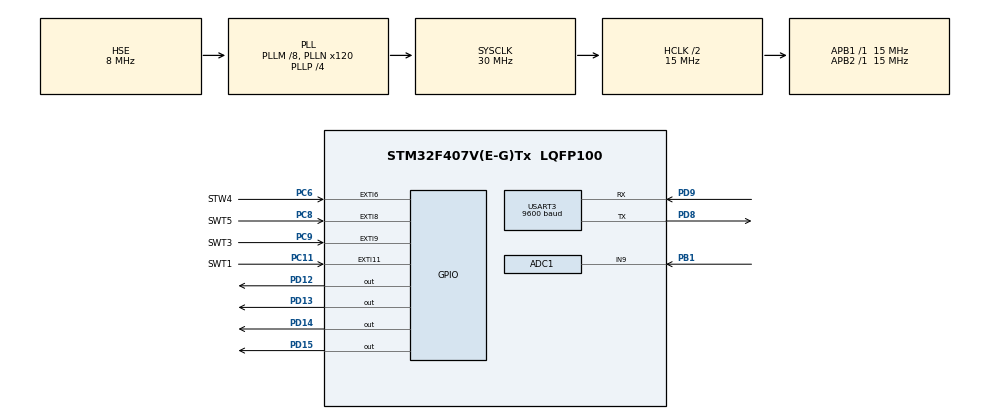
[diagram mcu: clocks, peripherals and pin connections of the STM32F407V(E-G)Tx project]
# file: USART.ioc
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ADC1.Channel-5\#ChannelRegularConversion=ADC_CHANNEL_9
ADC1.ExternalTrigConv=ADC_EXTERNALTRIGCONV_T1_CC1
ADC1.NbrOfConversionFlag=1
ADC1.Rank-5\#ChannelRegularConversion=1
ADC1.SamplingTime-5\#ChannelRegularConversion=ADC_SAMPLETIME_480CYCLES
ADC1.ScanConvMode=ENABLE
ADC1.master=1
Mcu.Family=STM32F4
Mcu.Name=STM32F407V(E-G)Tx
Mcu.Package=LQFP100
NVIC.ADC_IRQn=true\:0\:0\:false\:false\:true\:true\:true
NVIC.EXTI15_10_IRQn=true\:0\:0\:false\:false\:true\:true\:true
NVIC.EXTI9_5_IRQn=true\:0\:0\:false\:false\:true\:true\:true
NVIC.PriorityGroup=NVIC_PRIORITYGROUP_4
PB1.Signal=ADCx_IN9
PC11.GPIO_Label=SWT1
PC11.Signal=GPXTI11
PC6.GPIO_Label=STW4
PC6.Signal=GPXTI6
PC8.GPIO_Label=SWT5
PC8.Signal=GPXTI8
PC9.GPIO_Label=SWT3
PC9.Signal=GPXTI9
PD12.Signal=GPIO_Output
PD13.Signal=GPIO_Output
PD14.Signal=GPIO_Output
PD15.Signal=GPIO_Output
PD8.Mode=Asynchronous
PD8.Signal=USART3_TX
PD9.Mode=Asynchronous
PD9.Signal=USART3_RX
PH0-OSC_IN.Mode=HSE-External-Oscillator
PH0-OSC_IN.Signal=RCC_OSC_IN
PH1-OSC_OUT.Mode=HSE-External-Oscillator
PH1-OSC_OUT.Signal=RCC_OSC_OUT
ProjectManager.HeapSize=0x200
ProjectManager.StackSize=0x400
ProjectManager.TargetToolchain=STM32CubeIDE
RCC.48MHZClocksFreq_Value=30000000
RCC.AHBCLKDivider=RCC_SYSCLK_DIV2
RCC.AHBFreq_Value=15000000
RCC.APB1Freq_Value=15000000
RCC.APB1TimFreq_Value=15000000
RCC.APB2Freq_Value=15000000
RCC.APB2TimFreq_Value=15000000
RCC.CortexFreq_Value=15000000
RCC.HCLKFreq_Value=15000000
RCC.HSE_VALUE=8000000
RCC.HSI_VALUE=16000000
RCC.LSE_VALUE=32768
RCC.PLLM=8
RCC.PLLN=120
RCC.PLLP=RCC_PLLP_DIV4
RCC.PLLSourceVirtual=RCC_PLLSOURCE_HSE
RCC.SYSCLKFreq_VALUE=30000000
RCC.SYSCLKSource=RCC_SYSCLKSOURCE_PLLCLK
RCC.VCOOutputFreq_Value=120000000
SH.ADCx_IN9.0=ADC1_IN9,IN9
TIM1.Channel-Output\ Compare1\ No\ Output=TIM_CHANNEL_1
TIM1.OC1Preload=DISABLE
TIM1.OCMode_1=TIM_OCMODE_TOGGLE
TIM1.Period=2000
TIM1.Prescaler=15000
USART3.BaudRate=9600
USART3.VirtualMode=VM_ASYNC
VP_TIM1_VS_ClockSourceINT.Mode=Internal
VP_TIM1_VS_no_output1.Mode=Output Compare1 No Output
board=custom

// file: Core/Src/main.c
/* USER CODE BEGIN Header */
/**
 ******************************************************************************
 * @file           : main.c
 * @brief          : Main program body
 ******************************************************************************
 * @attention
 *
 * <h2><center>&copy; Copyright (c) 2021 STMicroelectronics.
 * All rights reserved.</center></h2>
 *
 * This software component is licensed by ST under BSD 3-Clause license,
 * the "License"; You may not use this file except in compliance with the
 * License. You may obtain a copy of the License at:
 *                        opensource.org/licenses/BSD-3-Clause
 *
 ******************************************************************************
 */
/* USER CODE END Header */
#include "main.h"

/* USER CODE BEGIN PD */
#define VOLT_1C 0.0202f
#define VOLT_MIN_C 2.02f
#define MAX_VAL_ADC 4096.f
#define MAX_VOLT 3.3f
/* USER CODE END PD */

ADC_HandleTypeDef hadc1;

TIM_HandleTypeDef htim1;

UART_HandleTypeDef huart3;

/* USER CODE BEGIN PV */

static uint16_t LEDs[] = { GPIO_PIN_12, GPIO_PIN_13, GPIO_PIN_14, GPIO_PIN_15 };
static uint8_t LedState[4] = { 0 };
enum {
	green, orange, red, blue
};
/* USER CODE END PV */

void SystemClock_Config(void);
static void MX_GPIO_Init(void);
static void MX_USART3_UART_Init(void);
static void MX_ADC1_Init(void);
static void MX_TIM1_Init(void);

/* USER CODE BEGIN 0 */

void printToConsole(int *tempC) //Вывод
{
	uint8_t tempChar[2] = { 0 }; //Массив для конвертирования целочисельных значений в символы
	/*Вывод состояния зеленого светодиота*/
	HAL_UART_Transmit(&huart3, (uint8_t*) "\r Green is ", 1 + 10, 10);
	(LedState[green]) ?
			HAL_UART_Transmit(&huart3, (uint8_t*) "1\t", 1 + 1, 10) :
			HAL_UART_Transmit(&huart3, (uint8_t*) "0\t", 1 + 1, 10);
	/*Вывод состояния оранжевого светодиота*/
	HAL_UART_Transmit(&huart3, (uint8_t*) " Orange is ", 11, 10);
	(LedState[orange]) ?
			HAL_UART_Transmit(&huart3, (uint8_t*) "1\t", 1 + 1, 10) :
			HAL_UART_Transmit(&huart3, (uint8_t*) "0\t", 1 + 1, 10);
	/*Вывод состояния красного светодиота*/
	HAL_UART_Transmit(&huart3, (uint8_t*) " Red is ", 8, 10);
	(LedState[red]) ?
			HAL_UART_Transmit(&huart3, (uint8_t*) "1\t", 1 + 1, 10) :
			HAL_UART_Transmit(&huart3, (uint8_t*) "0\t", 1 + 1, 10);
	/*Вывод состояния синего светодиота*/
	HAL_UART_Transmit(&huart3, (uint8_t*) " Blue is ", 9, 10);
	(LedState[blue]) ?
			HAL_UART_Transmit(&huart3, (uint8_t*) "1\t", 1 + 1, 10) :
			HAL_UART_Transmit(&huart3, (uint8_t*) "0\t", 1 + 1, 10);

	if (*tempC) {
		/*Конвертирование значения температуры в символы*/
		for (int i = 2; i != 0; i--) {
			tempChar[i - 1] = *tempC % 10;
			tempChar[i - 1] += '0';
			*tempC /= 10;
		}
		/*Вывод температуры*/
		HAL_UART_Transmit(&huart3, (uint8_t*) " Temp is ", 9, 10);
		HAL_UART_Transmit(&huart3, tempChar, 2, 100);

	}
}

void HAL_GPIO_EXTI_Callback(uint16_t GPIO_Pin) //Действия при нажатии кнопок с платы
{
	switch (GPIO_Pin) {

	case GPIO_PIN_11:
		HAL_GPIO_TogglePin(GPIOD, LEDs[blue]);
		LedState[blue] = !LedState[blue];
		break;
	case GPIO_PIN_9:
		HAL_GPIO_TogglePin(GPIOD, LEDs[orange]);
		LedState[orange] = !LedState[orange];
		break;
	case GPIO_PIN_6:
		HAL_GPIO_TogglePin(GPIOD, LEDs[red]);
		LedState[red] = !LedState[red];
		break;
	case GPIO_PIN_8:
		HAL_GPIO_TogglePin(GPIOD, LEDs[green]);
		LedState[green] = !LedState[green];
		break;
	}
	printToConsole(0);
}

void HAL_ADC_ConvCpltCallback(ADC_HandleTypeDef *hadc) //Вычисление и конвертация температуры
{
	int tempC = 0;
	uint16_t adc = 0;
	adc = HAL_ADC_GetValue(&hadc1);
	tempC = (VOLT_MIN_C - (adc * (MAX_VOLT / MAX_VAL_ADC))) / VOLT_1C;
	//1. Вычисление напряжения относительно 1;
	//2. Вычисление Напряжение относительно значения с ацп;
	//3. Напряжение относительно диапазона температур;
	//4. Конвертация в градусы Цельсия.

	printToConsole(&tempC);

}
/* USER CODE END 0 */

int main(void)
{

  /* MCU Configuration--------------------------------------------------------*/

  /* Reset of all peripherals, Initializes the Flash interface and the Systick. */
  HAL_Init();

  /* Configure the system clock */
  SystemClock_Config();

  /* Initialize all configured peripherals */
  MX_GPIO_Init();
  MX_USART3_UART_Init();
  MX_ADC1_Init();
  MX_TIM1_Init();
  /* USER CODE BEGIN 2 */
	printToConsole(0);
	uint8_t recValue;
	HAL_StatusTypeDef result;
	HAL_TIM_OC_Start(&htim1, TIM_CHANNEL_1);
	HAL_ADC_Start_IT(&hadc1);
  /* USER CODE END 2 */

  /* Infinite loop */
  /* USER CODE BEGIN WHILE */

	while (1) { //Взятие данных с клавиатуры

		result = HAL_UART_Receive(&huart3, &recValue, 1, 100);

		if (result == HAL_OK) {
			switch (recValue) {

			case '1': //Зеленый
				HAL_GPIO_TogglePin(GPIOD, LEDs[green]);
				LedState[green] = !LedState[green];
				break;

			case '2': //Оранжевый
				HAL_GPIO_TogglePin(GPIOD, LEDs[orange]);
				LedState[orange] = !LedState[orange];
				break;
			case '3': //Красный
				HAL_GPIO_TogglePin(GPIOD, LEDs[red]);
				LedState[red] = !LedState[red];
				break;
			case '4': //Синий
				HAL_GPIO_TogglePin(GPIOD, LEDs[blue]);
				LedState[blue] = !LedState[blue];
				break;

			}
			printToConsole(0);
		}
    /* USER CODE END WHILE */

	}
}

void SystemClock_Config(void)
{
  RCC_OscInitTypeDef RCC_OscInitStruct = {0};
  RCC_ClkInitTypeDef RCC_ClkInitStruct = {0};

  /** Configure the main internal regulator output voltage
  */
  __HAL_RCC_PWR_CLK_ENABLE();
  __HAL_PWR_VOLTAGESCALING_CONFIG(PWR_REGULATOR_VOLTAGE_SCALE1);
  /** Initializes the RCC Oscillators according to the specified parameters
  * in the RCC_OscInitTypeDef structure.
  */
  RCC_OscInitStruct.OscillatorType = RCC_OSCILLATORTYPE_HSE;
  RCC_OscInitStruct.HSEState = RCC_HSE_ON;
  RCC_OscInitStruct.PLL.PLLState = RCC_PLL_ON;
  RCC_OscInitStruct.PLL.PLLSource = RCC_PLLSOURCE_HSE;
  RCC_OscInitStruct.PLL.PLLM = 8;
  RCC_OscInitStruct.PLL.PLLN = 120;
  RCC_OscInitStruct.PLL.PLLP = RCC_PLLP_DIV4;
  RCC_OscInitStruct.PLL.PLLQ = 4;
  if (HAL_RCC_OscConfig(&RCC_OscInitStruct) != HAL_OK)
  {
    Error_Handler();
  }
  /** Initializes the CPU, AHB and APB buses clocks
  */
  RCC_ClkInitStruct.ClockType = RCC_CLOCKTYPE_HCLK|RCC_CLOCKTYPE_SYSCLK
                              |RCC_CLOCKTYPE_PCLK1|RCC_CLOCKTYPE_PCLK2;
  RCC_ClkInitStruct.SYSCLKSource = RCC_SYSCLKSOURCE_PLLCLK;
  RCC_ClkInitStruct.AHBCLKDivider = RCC_SYSCLK_DIV2;
  RCC_ClkInitStruct.APB1CLKDivider = RCC_HCLK_DIV1;
  RCC_ClkInitStruct.APB2CLKDivider = RCC_HCLK_DIV1;

  if (HAL_RCC_ClockConfig(&RCC_ClkInitStruct, FLASH_LATENCY_0) != HAL_OK)
  {
    Error_Handler();
  }
}

static void MX_ADC1_Init(void)
{

  ADC_ChannelConfTypeDef sConfig = {0};

  /** Configure the global features of the ADC (Clock, Resolution, Data Alignment and number of conversion)
  */
  hadc1.Instance = ADC1;
  hadc1.Init.ClockPrescaler = ADC_CLOCK_SYNC_PCLK_DIV2;
  hadc1.Init.Resolution = ADC_RESOLUTION_12B;
  hadc1.Init.ScanConvMode = ENABLE;
  hadc1.Init.ContinuousConvMode = DISABLE;
  hadc1.Init.DiscontinuousConvMode = DISABLE;
  hadc1.Init.ExternalTrigConvEdge = ADC_EXTERNALTRIGCONVEDGE_RISING;
  hadc1.Init.ExternalTrigConv = ADC_EXTERNALTRIGCONV_T1_CC1;
  hadc1.Init.DataAlign = ADC_DATAALIGN_RIGHT;
  hadc1.Init.NbrOfConversion = 1;
  hadc1.Init.DMAContinuousRequests = DISABLE;
  hadc1.Init.EOCSelection = ADC_EOC_SINGLE_CONV;
  if (HAL_ADC_Init(&hadc1) != HAL_OK)
  {
    Error_Handler();
  }
  /** Configure for the selected ADC regular channel its corresponding rank in the sequencer and its sample time.
  */
  sConfig.Channel = ADC_CHANNEL_9;
  sConfig.Rank = 1;
  sConfig.SamplingTime = ADC_SAMPLETIME_480CYCLES;
  if (HAL_ADC_ConfigChannel(&hadc1, &sConfig) != HAL_OK)
  {
    Error_Handler();
  }

}

static void MX_TIM1_Init(void)
{

  TIM_ClockConfigTypeDef sClockSourceConfig = {0};
  TIM_MasterConfigTypeDef sMasterConfig = {0};
  TIM_OC_InitTypeDef sConfigOC = {0};
  TIM_BreakDeadTimeConfigTypeDef sBreakDeadTimeConfig = {0};

  htim1.Instance = TIM1;
  htim1.Init.Prescaler = 15000;
  htim1.Init.CounterMode = TIM_COUNTERMODE_UP;
  htim1.Init.Period = 2000;
  htim1.Init.ClockDivision = TIM_CLOCKDIVISION_DIV1;
  htim1.Init.RepetitionCounter = 0;
  htim1.Init.AutoReloadPreload = TIM_AUTORELOAD_PRELOAD_DISABLE;
  if (HAL_TIM_Base_Init(&htim1) != HAL_OK)
  {
    Error_Handler();
  }
  sClockSourceConfig.ClockSource = TIM_CLOCKSOURCE_INTERNAL;
  if (HAL_TIM_ConfigClockSource(&htim1, &sClockSourceConfig) != HAL_OK)
  {
    Error_Handler();
  }
  if (HAL_TIM_OC_Init(&htim1) != HAL_OK)
  {
    Error_Handler();
  }
  sMasterConfig.MasterOutputTrigger = TIM_TRGO_RESET;
  sMasterConfig.MasterSlaveMode = TIM_MASTERSLAVEMODE_DISABLE;
  if (HAL_TIMEx_MasterConfigSynchronization(&htim1, &sMasterConfig) != HAL_OK)
  {
    Error_Handler();
  }
  sConfigOC.OCMode = TIM_OCMODE_TOGGLE;
  sConfigOC.Pulse = 0;
  sConfigOC.OCPolarity = TIM_OCPOLARITY_HIGH;
  sConfigOC.OCNPolarity = TIM_OCNPOLARITY_HIGH;
  sConfigOC.OCFastMode = TIM_OCFAST_DISABLE;
  sConfigOC.OCIdleState = TIM_OCIDLESTATE_RESET;
  sConfigOC.OCNIdleState = TIM_OCNIDLESTATE_RESET;
  if (HAL_TIM_OC_ConfigChannel(&htim1, &sConfigOC, TIM_CHANNEL_1) != HAL_OK)
  {
    Error_Handler();
  }
  sBreakDeadTimeConfig.OffStateRunMode = TIM_OSSR_DISABLE;
  sBreakDeadTimeConfig.OffStateIDLEMode = TIM_OSSI_DISABLE;
  sBreakDeadTimeConfig.LockLevel = TIM_LOCKLEVEL_OFF;
  sBreakDeadTimeConfig.DeadTime = 0;
  sBreakDeadTimeConfig.BreakState = TIM_BREAK_DISABLE;
  sBreakDeadTimeConfig.BreakPolarity = TIM_BREAKPOLARITY_HIGH;
  sBreakDeadTimeConfig.AutomaticOutput = TIM_AUTOMATICOUTPUT_DISABLE;
  if (HAL_TIMEx_ConfigBreakDeadTime(&htim1, &sBreakDeadTimeConfig) != HAL_OK)
  {
    Error_Handler();
  }

}

static void MX_USART3_UART_Init(void)
{

  huart3.Instance = USART3;
  huart3.Init.BaudRate = 9600;
  huart3.Init.WordLength = UART_WORDLENGTH_8B;
  huart3.Init.StopBits = UART_STOPBITS_1;
  huart3.Init.Parity = UART_PARITY_NONE;
  huart3.Init.Mode = UART_MODE_TX_RX;
  huart3.Init.HwFlowCtl = UART_HWCONTROL_NONE;
  huart3.Init.OverSampling = UART_OVERSAMPLING_16;
  if (HAL_UART_Init(&huart3) != HAL_OK)
  {
    Error_Handler();
  }

}

static void MX_GPIO_Init(void)
{
  GPIO_InitTypeDef GPIO_InitStruct = {0};

  /* GPIO Ports Clock Enable */
  __HAL_RCC_GPIOH_CLK_ENABLE();
  __HAL_RCC_GPIOB_CLK_ENABLE();
  __HAL_RCC_GPIOD_CLK_ENABLE();
  __HAL_RCC_GPIOC_CLK_ENABLE();

  /*Configure GPIO pin Output Level */
  HAL_GPIO_WritePin(GPIOD, GPIO_PIN_12|GPIO_PIN_13|GPIO_PIN_14|GPIO_PIN_15, GPIO_PIN_RESET);

  /*Configure GPIO pins : PD12 PD13 PD14 PD15 */
  GPIO_InitStruct.Pin = GPIO_PIN_12|GPIO_PIN_13|GPIO_PIN_14|GPIO_PIN_15;
  GPIO_InitStruct.Mode = GPIO_MODE_OUTPUT_PP;
  GPIO_InitStruct.Pull = GPIO_NOPULL;
  GPIO_InitStruct.Speed = GPIO_SPEED_FREQ_LOW;
  HAL_GPIO_Init(GPIOD, &GPIO_InitStruct);

  /*Configure GPIO pins : STW4_Pin SWT5_Pin SWT3_Pin SWT1_Pin */
  GPIO_InitStruct.Pin = STW4_Pin|SWT5_Pin|SWT3_Pin|SWT1_Pin;
  GPIO_InitStruct.Mode = GPIO_MODE_IT_RISING;
  GPIO_InitStruct.Pull = GPIO_NOPULL;
  HAL_GPIO_Init(GPIOC, &GPIO_InitStruct);

  /* EXTI interrupt init*/
  HAL_NVIC_SetPriority(EXTI9_5_IRQn, 0, 0);
  HAL_NVIC_EnableIRQ(EXTI9_5_IRQn);

  HAL_NVIC_SetPriority(EXTI15_10_IRQn, 0, 0);
  HAL_NVIC_EnableIRQ(EXTI15_10_IRQn);

}

void Error_Handler(void)
{
	__disable_irq();
	while (1) {
	}
}

/************************ (C) COPYRIGHT STMicroelectronics *****END OF FILE****/
